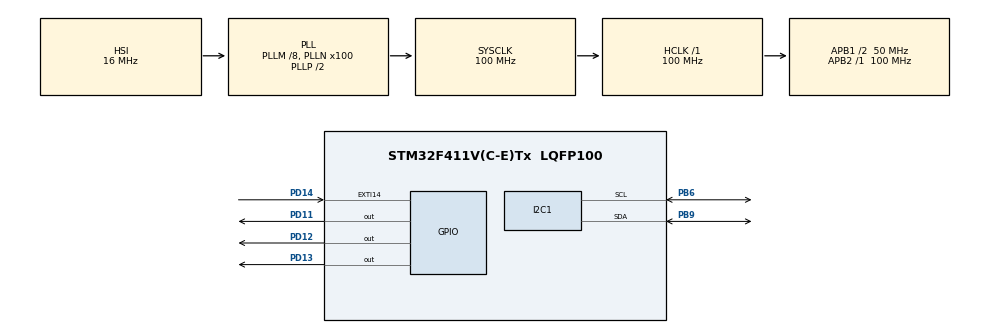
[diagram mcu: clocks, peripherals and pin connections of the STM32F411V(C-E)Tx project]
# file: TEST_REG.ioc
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FREERTOS.Tasks01=defaultTask,24,128,StartDefaultTask,Default,NULL,Dynamic,NULL,NULL
Mcu.Family=STM32F4
Mcu.Name=STM32F411V(C-E)Tx
Mcu.Package=LQFP100
NVIC.PriorityGroup=NVIC_PRIORITYGROUP_4
PA13.Mode=Serial_Wire
PA13.Signal=SYS_JTMS-SWDIO
PA14.Mode=Serial_Wire
PA14.Signal=SYS_JTCK-SWCLK
PB6.Mode=I2C
PB6.Signal=I2C1_SCL
PB9.Mode=I2C
PB9.Signal=I2C1_SDA
PD11.Signal=GPIO_Output
PD12.Signal=GPIO_Output
PD13.Signal=GPIO_Output
PD14.Signal=GPXTI14
PH0\ -\ OSC_IN.Mode=HSE-External-Oscillator
PH0\ -\ OSC_IN.Signal=RCC_OSC_IN
PH1\ -\ OSC_OUT.Mode=HSE-External-Oscillator
PH1\ -\ OSC_OUT.Signal=RCC_OSC_OUT
ProjectManager.HeapSize=0x200
ProjectManager.StackSize=0x400
ProjectManager.TargetToolchain=STM32CubeIDE
RCC.48MHZClocksFreq_Value=25000000
RCC.AHBFreq_Value=100000000
RCC.APB1CLKDivider=RCC_HCLK_DIV2
RCC.APB1Freq_Value=50000000
RCC.APB1TimFreq_Value=100000000
RCC.APB2Freq_Value=100000000
RCC.APB2TimFreq_Value=100000000
RCC.CortexFreq_Value=100000000
RCC.HCLKFreq_Value=100000000
RCC.HSE_VALUE=8000000
RCC.HSI_VALUE=16000000
RCC.LSE_VALUE=32768
RCC.PLLI2SM=5
RCC.PLLI2SN=200
RCC.PLLM=8
RCC.PLLN=100
RCC.PLLQ=8
RCC.SYSCLKFreq_VALUE=100000000
RCC.SYSCLKSource=RCC_SYSCLKSOURCE_PLLCLK
RCC.VCOOutputFreq_Value=200000000
VP_FREERTOS_VS_CMSIS_V2.Mode=CMSIS_V2
board=STM32F411E-DISCO

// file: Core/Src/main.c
/* USER CODE BEGIN Header */
/**
  ******************************************************************************
  * @file           : main.c
  * @brief          : Main program body
  ******************************************************************************
  * @attention
  *
  * Copyright (c) 2022 STMicroelectronics.
  * All rights reserved.
  *
  * This software is licensed under terms that can be found in the LICENSE file
  * in the root directory of this software component.
  * If no LICENSE file comes with this software, it is provided AS-IS.
  *
  ******************************************************************************
  */
/* USER CODE END Header */
#include "main.h"
#include "cmsis_os.h"

/* USER CODE BEGIN Includes */
#include "UART_REG.h"
#include "string.h"
#include "SPI_REG.h"
#include "GPIO_REG.h"
#include "FLASH_REG.h"
#include "I2C_reg2.h"
/* USER CODE END Includes */

I2C_HandleTypeDef hi2c1;

/* Definitions for defaultTask */
osThreadId_t defaultTaskHandle;
const osThreadAttr_t defaultTask_attributes = {
  .name = "defaultTask",
  .stack_size = 128 * 4,
  .priority = (osPriority_t) osPriorityNormal,
};

void SystemClock_Config(void);
static void MX_GPIO_Init(void);
static void MX_I2C1_Init(void);
void StartDefaultTask(void *argument);

/* USER CODE BEGIN PFP */
	uint8_t rx_buf[32] = {0};
	int count = 0;
	uint8_t buf = 0;
	 uint16_t x_data = 0;
	 uint16_t y_data = 0;
	 uint16_t z_data = 0;

#define WHO_AM_I 0X0F
#define CTRL_REG1 0X20

#define OUT_X_L 0X28
#define OUT_X_H 0X29

#define OUT_Y_L 0X2A
#define OUT_Y_H 0X2B

#define OUT_Z_L 0X2C
#define OUT_Z_H 0X2D
/* USER CODE END PFP */

/* USER CODE BEGIN 0 */
void UART_Reveice_Interrupt_Handler()
{
	rx_buf[count++] = (UART2 -> DR2 & (0xff));
}

void UART_DMA_Init()
{
	DMA_1C7 -> S7NDTR2 = sizeof(rx_buf);
	DMA_1C7 -> S7PAR2 = UART2 -> DR2;
	DMA_1C7 -> S7M0AR2 = (uint32_t)rx_buf;
	DMA_1C7 -> S7CR2 = (0b110 << 25) | (1 << 10) | (1);
}

void DMA_1C7_Handler()
{
  __asm("NOP");
}

void SM303_IC2_read(uint8_t address, uint8_t reg, uint8_t* buffer)
{
	 I2C_Start();
	 I2C_Address(address);
	 I2C_Wite(reg);
	 I2C_Start();
	 I2C_Read_OneByte(address + 0x01, buffer);
	 I2C_Stop();
}

void Tim1_Init()
{

	    GPIOD2 -> MODER2 |= (0b10 << 24)|(0b10 << 26)|(0b10 << 28)|(0b10 << 30); // PD12-15 as alternate function

		GPIOD2 -> AFRH2 &= ~(0b1111 << 16)|~(0b1111 << 20)|~(0b1111 << 24)|~(0b1111 << 28); // PD12-15
		GPIOD2 -> AFRH2 |= (0b0010 << 16)|(0b0010 << 20)|(0b0010 << 24)|(0b0010 << 28);

        __HAL_RCC_TIM4_CLK_ENABLE();

		uint16_t* PSC = (uint16_t*)0x40000828;
		*PSC = 16000/100 - 1;

		uint16_t* ARR = (uint16_t*)0x4000082c;
		*ARR = 1000 - 1; //100%

		uint16_t* CCR1 = (uint16_t*)0x40000834;
		*CCR1 = 0;

		uint16_t* CCMR1_Output = (uint16_t*)0x40000818; // OUTPUT
		*CCMR1_Output |= (0b110 << 4) | (0b110 << 12); // CH1, CH2 as PWM mode 1

		uint16_t* CCMR2_Output = (uint16_t*)0x4000081c; // OUTPUT
	    *CCMR2_Output |= (0b110 << 4) | (0b110 << 12); // CH3, CH4 as PWM mode 1

		uint16_t* CCER = (uint16_t*)0x40000820; // OUTPUT
		*CCER |= (1 << 0) | (1 << 4) | (1 << 8) | (1 << 12);

		uint16_t* CR1 = (uint16_t*)0x40000800;
		*CR1 |= (1 << 0);
}

#define Tim5_BaseAdrr 0x40000c00
void Timer5_capture()
{
	GPIOA2 -> MODER2 |= (0b10 << 0 ); // ATF
    GPIOA2 -> AFRL2 |= 2;

	__HAL_RCC_TIM5_CLK_ENABLE();

	uint16_t * PSC = (uint32_t*)(Tim5_BaseAdrr + 0x28); //0x40000c28
	uint16_t * CR1 = (uint32_t*)(Tim5_BaseAdrr + 0x00); //0x40000c00
	uint16_t * ARR = (uint32_t*)(Tim5_BaseAdrr + 0x2c); //0x40000c2c

	*ARR = 0xffff;
	*PSC = 15999;

	/*Time capture - channel 1 - rising*/
	uint16_t * CCER = (uint32_t*)(Tim5_BaseAdrr + 0x20); //0x40000c20
	uint16_t * CCMR1_Output = (uint32_t*)(Tim5_BaseAdrr + 0x18); //0x40000c18
	uint16_t * SMCR = (uint32_t*)(Tim5_BaseAdrr + 0x08); //0x40000c08

	*CCMR1_Output |= 0b01;
	*CCER &= ~ (1 << 1) | (1 << 3);
	*CCER |= 1;

	 /*Reset CNT to 0 when detect rising*/
	*SMCR |= 0b100;
	*SMCR |= 0b101 << 4;
	*CR1 |= 1;

}

void SM303_IC2_read1(uint8_t address, uint8_t reg, uint8_t* buffer)
{
	 I2C_Start1();
	 I2C_Address1(address);
	 I2C_Write1(reg);
	 I2C_Start1();
	 I2C_Read1 (address + 0x01, buffer, 1);
	 I2C_Stop1();
}

uint16_t read_CCR1_Tim4()
{
	uint16_t * CCR1 = (uint32_t*)(Tim5_BaseAdrr + 0x34); //0x40000c2c
	return *CCR1;
}

int x;
void  TIM1_UP_TIM10_IRQHandler()
{
	// __asm("NOP");
	if(x == 0) x = 1;
	//else if (x == 1) x = 0;

	//HAL_GPIO_WritePin(GPIOD, GPIO_PIN_12, x);
}

/* USER CODE END 0 */

int main(void)
{

  /* MCU Configuration--------------------------------------------------------*/

  /* Reset of all peripherals, Initializes the Flash interface and the Systick. */
  HAL_Init();

  /* Configure the system clock */
  SystemClock_Config();

  /* Initialize all configured peripherals */
  MX_GPIO_Init();
  MX_I2C1_Init();
  /* USER CODE BEGIN 2 */
 // UART_Init();
  //UART_RX_Interrupt_Init();
 // UART_DMA_Init();
  //char msg[] = "Hello World";
  //Flash_Section_Erase(7);
//  cccc(msg,sizeof(msg));
  //Flash_Program(msg,sizeof(msg));
 // Flash_Program(0x08060000 ,msg,sizeof(msg));
 // SPI1_INIT();
 // uint8_t check = SPI_Read(WHO_AM_I);
 // SPI_Write(CTRL_REG1, 0b00001111);
  //I2C_Config1();
  uint8_t check =0;
  HAL_I2C_Mem_Read (&hi2c1, 0x33 ,0x0f,1, &check, 1, 1000);
  //SM303_IC2_read1(0x32, 0x0f, &check);
  //Tim1_Init();
  /* USER CODE END 2 */

  /* Init scheduler */
  osKernelInitialize();

  /* Create the thread(s) */
  /* creation of defaultTask */
  defaultTaskHandle = osThreadNew(StartDefaultTask, NULL, &defaultTask_attributes);

  /* Start scheduler */
  osKernelStart();

  /* We should never get here as control is now taken by the scheduler */
  /* Infinite loop */
   while (1)
  {

    /* USER CODE BEGIN 3 */
	  /* for(int i = 0; i < 999; i++)
	   {	HAL_Delay(3);
		   uint16_t* CCR1 = (uint16_t*)0x40000834;
		   *CCR1 = i;

		   uint16_t* CCR2 = (uint16_t*)0x40000838;
		   		   *CCR2 = i;

		   		uint16_t* CCR3 = (uint16_t*)0x4000083c;
		   				   *CCR3 = i;

		   				uint16_t* CCR4 = (uint16_t*)0x40000840;
		   						   *CCR4 = i;
	   }

	   for(int i = 999; i > 0; i--)
		   {	HAL_Delay(3);
			   uint16_t* CCR1 = (uint16_t*)0x40000834;
			   *CCR1 = i;

			   uint16_t* CCR2 = (uint16_t*)0x40000838;
			   		   *CCR2 = i;

			   		uint16_t* CCR3 = (uint16_t*)0x4000083c;
			   				   *CCR3 = i;

			   				uint16_t* CCR4 = (uint16_t*)0x40000840;
			   						   *CCR4 = i;
		   }*/

	  /* HAL_GPIO_WritePin(GPIOD, GPIO_PIN_12, GPIO_PIN_SET);
	   Tim_Delay();
	   HAL_GPIO_WritePin(GPIOD, GPIO_PIN_12, GPIO_PIN_RESET);
	   Tim_Delay();1*/

  }
  /* USER CODE END 3 */
}

void SystemClock_Config(void)
{
  RCC_OscInitTypeDef RCC_OscInitStruct = {0};
  RCC_ClkInitTypeDef RCC_ClkInitStruct = {0};

  /** Configure the main internal regulator output voltage
  */
  __HAL_RCC_PWR_CLK_ENABLE();
  __HAL_PWR_VOLTAGESCALING_CONFIG(PWR_REGULATOR_VOLTAGE_SCALE1);

  /** Initializes the RCC Oscillators according to the specified parameters
  * in the RCC_OscInitTypeDef structure.
  */
  RCC_OscInitStruct.OscillatorType = RCC_OSCILLATORTYPE_HSI;
  RCC_OscInitStruct.HSIState = RCC_HSI_ON;
  RCC_OscInitStruct.HSICalibrationValue = RCC_HSICALIBRATION_DEFAULT;
  RCC_OscInitStruct.PLL.PLLState = RCC_PLL_ON;
  RCC_OscInitStruct.PLL.PLLSource = RCC_PLLSOURCE_HSI;
  RCC_OscInitStruct.PLL.PLLM = 8;
  RCC_OscInitStruct.PLL.PLLN = 100;
  RCC_OscInitStruct.PLL.PLLP = RCC_PLLP_DIV2;
  RCC_OscInitStruct.PLL.PLLQ = 8;
  if (HAL_RCC_OscConfig(&RCC_OscInitStruct) != HAL_OK)
  {
    Error_Handler();
  }

  /** Initializes the CPU, AHB and APB buses clocks
  */
  RCC_ClkInitStruct.ClockType = RCC_CLOCKTYPE_HCLK|RCC_CLOCKTYPE_SYSCLK
                              |RCC_CLOCKTYPE_PCLK1|RCC_CLOCKTYPE_PCLK2;
  RCC_ClkInitStruct.SYSCLKSource = RCC_SYSCLKSOURCE_PLLCLK;
  RCC_ClkInitStruct.AHBCLKDivider = RCC_SYSCLK_DIV1;
  RCC_ClkInitStruct.APB1CLKDivider = RCC_HCLK_DIV2;
  RCC_ClkInitStruct.APB2CLKDivider = RCC_HCLK_DIV1;

  if (HAL_RCC_ClockConfig(&RCC_ClkInitStruct, FLASH_LATENCY_3) != HAL_OK)
  {
    Error_Handler();
  }
}

static void MX_I2C1_Init(void)
{

  hi2c1.Instance = I2C1;
  hi2c1.Init.ClockSpeed = 100000;
  hi2c1.Init.DutyCycle = I2C_DUTYCYCLE_2;
  hi2c1.Init.OwnAddress1 = 0;
  hi2c1.Init.AddressingMode = I2C_ADDRESSINGMODE_7BIT;
  hi2c1.Init.DualAddressMode = I2C_DUALADDRESS_DISABLE;
  hi2c1.Init.OwnAddress2 = 0;
  hi2c1.Init.GeneralCallMode = I2C_GENERALCALL_DISABLE;
  hi2c1.Init.NoStretchMode = I2C_NOSTRETCH_DISABLE;
  if (HAL_I2C_Init(&hi2c1) != HAL_OK)
  {
    Error_Handler();
  }

}

static void MX_GPIO_Init(void)
{
  GPIO_InitTypeDef GPIO_InitStruct = {0};

  /* GPIO Ports Clock Enable */
  __HAL_RCC_GPIOH_CLK_ENABLE();
  __HAL_RCC_GPIOD_CLK_ENABLE();
  __HAL_RCC_GPIOA_CLK_ENABLE();
  __HAL_RCC_GPIOB_CLK_ENABLE();

  /*Configure GPIO pin Output Level */
  HAL_GPIO_WritePin(GPIOD, GPIO_PIN_11|GPIO_PIN_12|GPIO_PIN_13, GPIO_PIN_RESET);

  /*Configure GPIO pins : PD11 PD12 PD13 */
  GPIO_InitStruct.Pin = GPIO_PIN_11|GPIO_PIN_12|GPIO_PIN_13;
  GPIO_InitStruct.Mode = GPIO_MODE_OUTPUT_PP;
  GPIO_InitStruct.Pull = GPIO_NOPULL;
  GPIO_InitStruct.Speed = GPIO_SPEED_FREQ_LOW;
  HAL_GPIO_Init(GPIOD, &GPIO_InitStruct);

  /*Configure GPIO pin : PD14 */
  GPIO_InitStruct.Pin = GPIO_PIN_14;
  GPIO_InitStruct.Mode = GPIO_MODE_IT_RISING;
  GPIO_InitStruct.Pull = GPIO_NOPULL;
  HAL_GPIO_Init(GPIOD, &GPIO_InitStruct);

}

void StartDefaultTask(void *argument)
{
  for(;;)
  {
    osDelay(1);
  }
}

void Error_Handler(void)
{
  __disable_irq();
  while (1)
  {
  }
}
